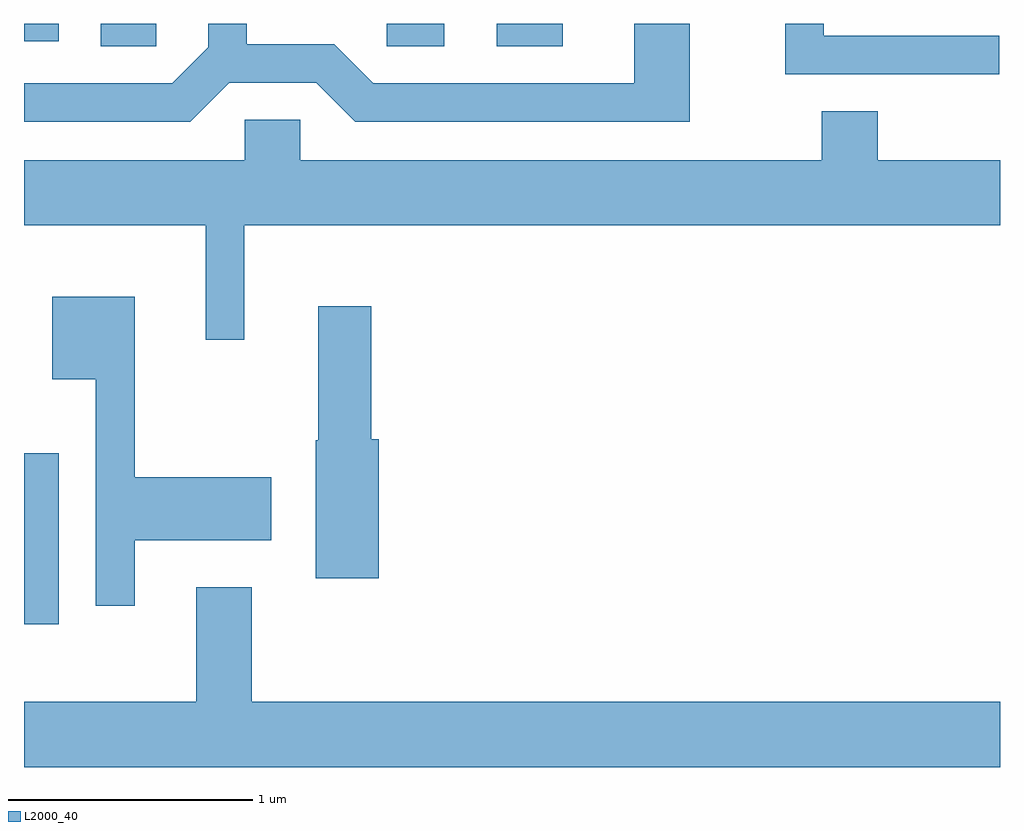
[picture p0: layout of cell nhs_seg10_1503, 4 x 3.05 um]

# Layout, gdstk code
import gdstk
lib = gdstk.Library(unit=1e-6, precision=1e-09)
def R(c, l, rs):  # rectangles x0, y0, x1, y1
    for r in rs: c.add(gdstk.rectangle(r[:2], r[2:], *l))
def P(c, l, *ps):  # polygons
    for p in ps: c.add(gdstk.Polygon(p, *l))
L2000_40 = (2000, 40)

nhs_seg10_1503 = lib.new_cell('nhs_seg10_1503')
R(nhs_seg10_1503, L2000_40, [(229.611,2110.061,229.754,2110.763), (229.926,2112.431,230.154,2112.522), (231.098,2112.431,231.334,2112.522), (231.548,2112.431,231.819,2112.522), (229.611,2112.451,229.754,2112.522)])
P(nhs_seg10_1503, L2000_40, [(233.608,2112.474),(232.889,2112.474),(232.889,2112.522),(232.731,2112.522),(232.731,2112.316),(233.608,2112.316)],
  [(230.452,2112.281),(230.809,2112.281),(230.969,2112.121),(232.339,2112.121),(232.339,2112.522),(232.111,2112.522),(232.111,2112.279),(231.042,2112.279),(230.882,2112.439),(230.524,2112.439),(230.524,2112.522),(230.366,2112.522),(230.366,2112.427),(230.219,2112.279),(229.611,2112.279),(229.611,2112.121),(230.292,2112.121)],
  [(230.514,2111.696),(233.611,2111.696),(233.611,2111.964),(233.109,2111.964),(233.109,2112.164),(232.881,2112.164),(232.881,2111.964),(230.744,2111.964),(230.744,2112.129),(230.516,2112.129),(230.516,2111.964),(229.611,2111.964),(229.611,2111.696),(230.356,2111.696),(230.356,2111.228),(230.514,2111.228)],
  [(230.064,2110.406),(230.624,2110.406),(230.624,2110.664),(230.064,2110.664),(230.064,2111.404),(229.726,2111.404),(229.726,2111.066),(229.906,2111.066),(229.906,2110.138),(230.064,2110.138)],
  [(231.064,2110.819),(231.034,2110.819),(231.034,2111.364),(230.816,2111.364),(230.816,2110.815),(230.806,2110.815),(230.806,2110.251),(231.064,2110.251)],
  [(233.611,2109.744),(230.544,2109.744),(230.544,2110.214),(230.316,2110.214),(230.316,2109.744),(229.611,2109.744),(229.611,2109.476),(233.611,2109.476)])

lib.write_gds('nhs_seg10_1503.gds')
